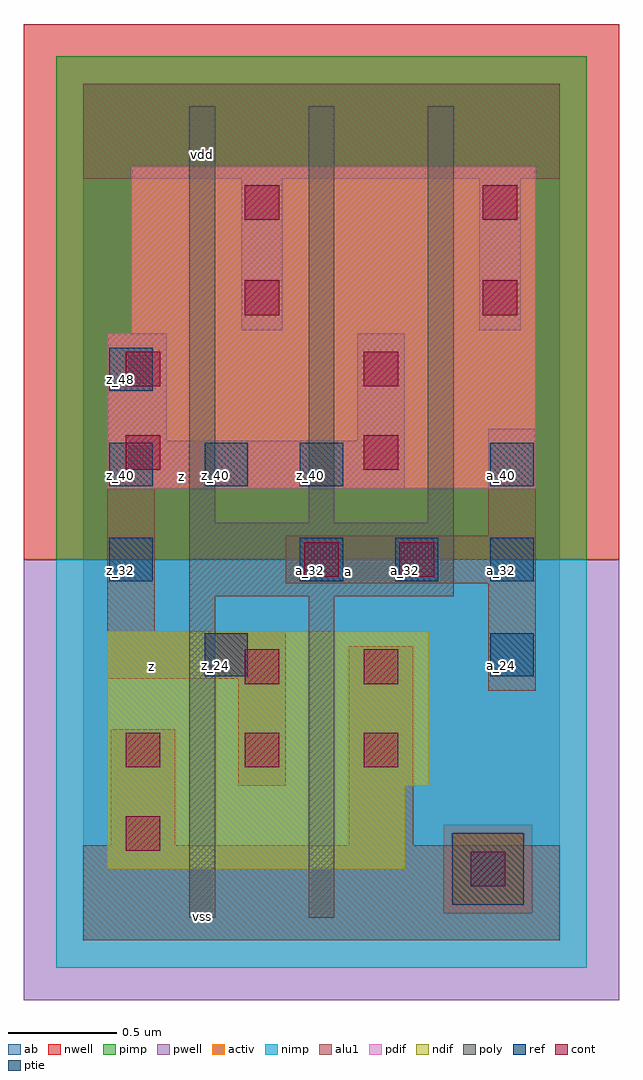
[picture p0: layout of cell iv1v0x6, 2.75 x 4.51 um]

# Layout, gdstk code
import gdstk
lib = gdstk.Library(unit=1e-6, precision=2.5e-09)
def R(c, l, rs):  # rectangles x0, y0, x1, y1
    for r in rs: c.add(gdstk.rectangle(r[:2], r[2:], *l))
def A(c, l, x, y, w, h, nx, ny, dx, dy):  # array of equal rectangles
    R(c, l, [(x+i*dx, y+j*dy, x+i*dx+w, y+j*dy+h) for i in range(nx) for j in range(ny)])
ndif = (3, 0)
pdif = (4, 0)
ptie = (6, 0)
ref = (24, 0)
cont = (25, 0)
pwell = (41, 0)
nwell = (42, 0)
activ = (43, 0)
pimp = (44, 0)
nimp = (45, 0)
poly = (46, 0)
alu1 = (49, 0)
ab = (63, 0)

iv1v0x6 = lib.new_cell('iv1v0x6')
R(iv1v0x6, ndif, [(0.11,0.33,1.485,0.715), (0.11,0.715,1.595,1.43)])
R(iv1v0x6, pdif, [(0.11,2.09,2.09,2.805), (0.22,2.805,2.09,3.575)])
R(iv1v0x6, ptie, [(1.705,0.165,2.035,0.495)])
A(iv1v0x6, ref, 1, 1.66, 0.2, 0.2, 3, 1, 0.44, 0)
A(iv1v0x6, ref, 0.12, 2.1, 0.2, 0.2, 3, 1, 0.44, 0)
R(iv1v0x6, ref, [(0.56,1.22,0.76,1.42), (1.88,1.22,2.08,1.42), (0.12,1.66,0.32,1.86), (1.88,2.1,2.08,2.3), (0.12,2.54,0.32,2.74)])
A(iv1v0x6, cont, 0.195, 0.8, 0.16, 0.16, 3, 1, 0.55, 0)
R(iv1v0x6, cont, [(1.79,0.25,1.95,0.41), (0.195,0.415,0.355,0.575), (0.745,1.185,0.905,1.345), (1.295,1.185,1.455,1.345), (1.02,1.68,1.18,1.84), (1.46,1.68,1.62,1.84), (0.195,2.175,0.355,2.335), (1.295,2.175,1.455,2.335), (0.195,2.56,0.355,2.72), (1.295,2.56,1.455,2.72), (0.745,2.89,0.905,3.05), (1.845,2.89,2.005,3.05), (0.745,3.33,0.905,3.49), (1.845,3.33,2.005,3.49)])
R(iv1v0x6, pwell, [(-0.275,-0.275,2.475,1.76)])
R(iv1v0x6, nwell, [(-0.275,1.76,2.475,4.235)])
R(iv1v0x6, activ, [(1.705,0.165,2.035,0.495), (0.11,0.33,1.485,0.715), (0.11,0.715,1.595,1.43), (0.11,2.09,2.09,2.805), (0.22,2.805,2.09,3.575)])
R(iv1v0x6, pimp, [(1.665,0.125,2.075,0.535), (-0.125,1.76,2.325,4.085)])
R(iv1v0x6, nimp, [(-0.125,-0.125,2.325,0.125), (-0.125,0.125,1.665,0.535), (2.075,0.125,2.325,0.535), (-0.125,0.535,2.325,1.76)])
A(iv1v0x6, poly, 0.49, 1.93, 0.12, 1.925, 3, 1, 0.55, 0)
R(iv1v0x6, poly, [(0.49,0.105,0.61,1.59), (1.04,0.105,1.16,1.59), (0.49,1.59,1.71,1.93)])
R(iv1v0x6, alu1, [(0,0,2.2,0.44), (0.125,0.44,0.425,0.975), (1.225,0.44,1.525,1.36), (0.715,0.715,0.935,1.21), (1.87,1.155,2.09,1.65), (0.11,1.21,0.935,1.43), (0.11,1.43,0.33,2.09), (0.935,1.65,2.09,1.87), (1.87,1.87,2.09,2.365), (0.11,2.09,1.485,2.31), (0.11,2.31,0.385,2.805), (1.265,2.31,1.485,2.805), (0.73,2.82,0.92,3.52), (1.83,2.82,2.02,3.52), (0,3.52,2.2,3.96)])
R(iv1v0x6, ab, [(0,0,2.2,3.96)])
iv1v0x6.add(gdstk.Label('vss', (0.55,0.11), layer=49, texttype=0))
iv1v0x6.add(gdstk.Label('z', (0.315,1.265), layer=49, texttype=0))
iv1v0x6.add(gdstk.Label('a', (1.2225,1.705), layer=49, texttype=0))
iv1v0x6.add(gdstk.Label('z', (0.4525,2.145), layer=49, texttype=0))
iv1v0x6.add(gdstk.Label('vdd', (0.55,3.63), layer=49, texttype=0))
iv1v0x6.add(gdstk.Label('z_24', (0.61,1.27), layer=24, texttype=0))
iv1v0x6.add(gdstk.Label('z_40', (0.61,2.15), layer=24, texttype=0))
iv1v0x6.add(gdstk.Label('a_32', (1.05,1.71), layer=24, texttype=0))
iv1v0x6.add(gdstk.Label('z_40', (1.05,2.15), layer=24, texttype=0))
iv1v0x6.add(gdstk.Label('a_32', (1.49,1.71), layer=24, texttype=0))
iv1v0x6.add(gdstk.Label('a_24', (1.93,1.27), layer=24, texttype=0))
iv1v0x6.add(gdstk.Label('a_32', (1.93,1.71), layer=24, texttype=0))
iv1v0x6.add(gdstk.Label('a_40', (1.93,2.15), layer=24, texttype=0))
iv1v0x6.add(gdstk.Label('z_32', (0.17,1.71), layer=24, texttype=0))
iv1v0x6.add(gdstk.Label('z_40', (0.17,2.15), layer=24, texttype=0))
iv1v0x6.add(gdstk.Label('z_48', (0.17,2.59), layer=24, texttype=0))

lib.write_gds('iv1v0x6.gds')
